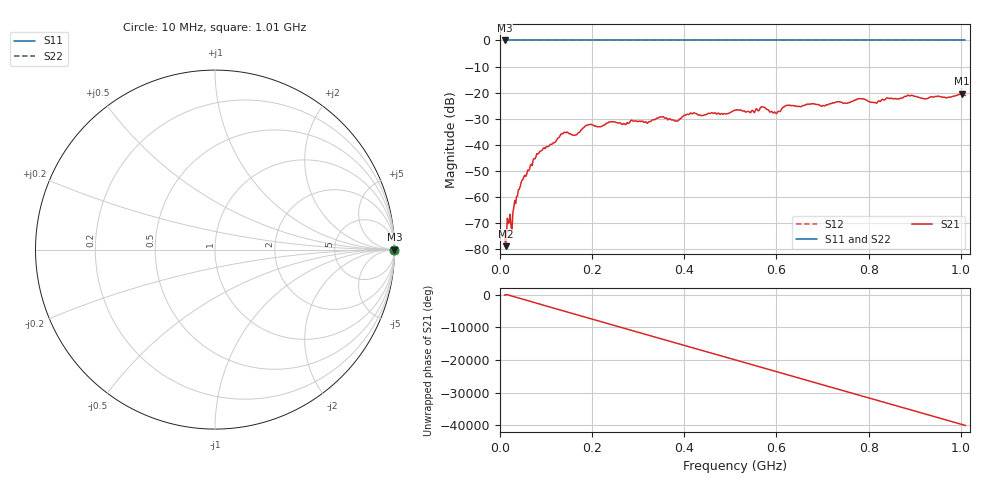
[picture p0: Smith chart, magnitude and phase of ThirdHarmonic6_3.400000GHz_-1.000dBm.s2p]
! 8/17/2025 10:51:33 AM
! C:\ANRITSUVNA\TEMP\TEMP.S2P
! CHANNEL.1
! TR.MEASUREMENT
! RAW.DATA
! RF.CORRECTION.OFF
! AVERAGING.OFF
! IF.BANDWIDTH: 5KHZ
! SWEEPTYPE:  FREQ.SWEEP(Linear)
! Reference Plane Port Info
! PORT:  PORT1  PORT2
! DISTANCE:  0  m  0  m
! TIME:  0  s  0  s
! PHASE.OFFSET:  0  deg.  0  deg.
! LOSS:  0  dB  0  dB
! REF.LOSS:  0  dB  0  dB
! REF.FREQ:  0  Hz  0  Hz
! Power Info
! POWER:  -20  dBm  -20  dBm
! EFF.POWER:  -20  dBm  -20  dBm
! SOURCE.ATTEN:  0  dB  0  dB
! TEST.ATTEN:  0  dB  0  dB
# GHZ S RI R 50.0
! FREQ.GHZ  S11RE  S11IM  S21RE  S21IM  S12RE  S12IM  S22RE  S22IM
!; PortSelection: Port_12
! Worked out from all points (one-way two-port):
!   501 points, 10 MHz to 1.01 GHz, reference 50 ohm
!   highest |S21| = -20.42 dB at 1.002 GHz (marker M1); lowest = -78.8 dB at 12 MHz (marker M2)
!   lowest |S11| = 0.0 dB at 10 MHz (marker M3)
!   |S11| at or under -10 dB: nowhere
!   |S22| runs from 0.0 to 0.0 dB; largest |S21 - S12| = 1.1
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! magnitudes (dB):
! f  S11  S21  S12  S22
! 10 MHz  0.0  -72.9  0.0  0.0
! 12 MHz  0.0  -78.8  0.0  0.0
! 28 MHz  0.0  -65.9  0.0  0.0
! 32 MHz  0.0  -61.3  0.0  0.0
! 44 MHz  0.0  -55.8  0.0  0.0
! 76 MHz  0.0  -45.3  0.0  0.0
! 136 MHz  0.0  -35.8  0.0  0.0
! 162 MHz  0.0  -36.3  0.0  0.0
! 178 MHz  0.0  -33.9  0.0  0.0
! 194 MHz  0.0  -32.2  0.0  0.0
! 322 MHz  0.0  -31.3  0.0  0.0
! 344 MHz  0.0  -29.7  0.0  0.0
! 384 MHz  0.0  -30.9  0.0  0.0
! 416 MHz  0.0  -28.1  0.0  0.0
! 510 MHz  0.0  -26.7  0.0  0.0
! 570 MHz  0.0  -25.4  0.0  0.0
! 596 MHz  0.0  -27.3  0.0  0.0
! 622 MHz  0.0  -24.9  0.0  0.0
! 678 MHz  0.0  -24.3  0.0  0.0
! 844 MHz  0.0  -22.2  0.0  0.0
! 1.002 GHz  0.0  -20.4  0.0  0.0
! 1.01 GHz  0.0  -21.0  0.0  0.0
